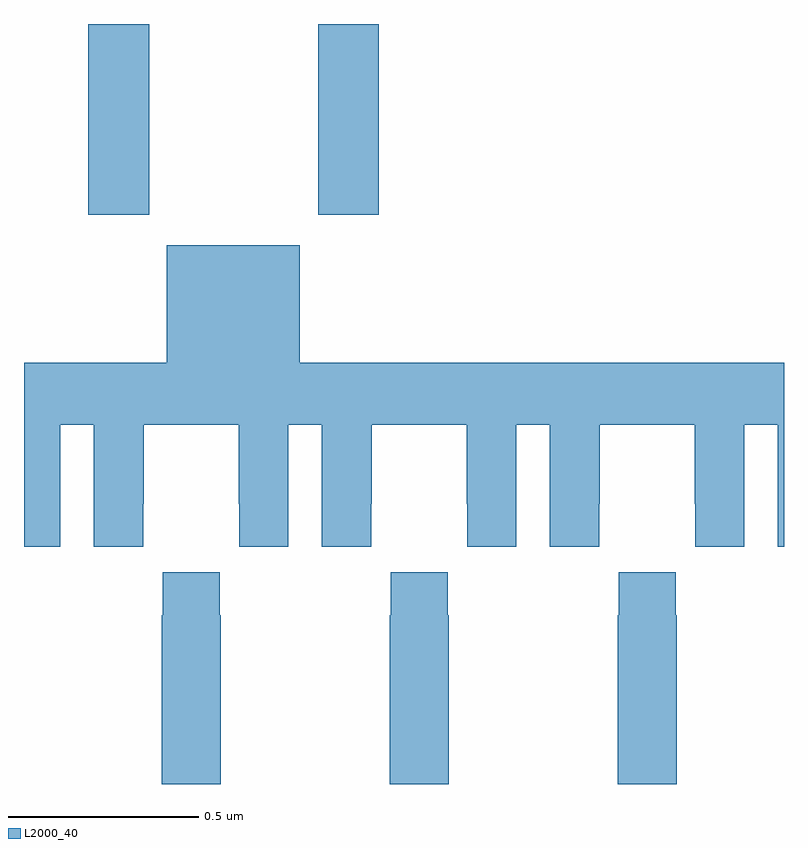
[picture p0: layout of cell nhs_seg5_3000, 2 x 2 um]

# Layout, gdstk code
import gdstk
lib = gdstk.Library(unit=1e-6, precision=1e-09)
def R(c, l, rs):  # rectangles x0, y0, x1, y1
    for r in rs: c.add(gdstk.rectangle(r[:2], r[2:], *l))
def P(c, l, *ps):  # polygons
    for p in ps: c.add(gdstk.Polygon(p, *l))
L2000_40 = (2000, 40)

nhs_seg5_3000 = lib.new_cell('nhs_seg5_3000')
R(nhs_seg5_3000, L2000_40, [(151.169,873.297,151.329,873.799), (151.774,873.297,151.934,873.799)])
P(nhs_seg5_3000, L2000_40, [(151.376,872.908),(151,872.908),(151,872.424),(151.096,872.424),(151.096,872.744),(151.184,872.744),(151.184,872.424),(151.314,872.424),(151.314,872.536),(151.315,872.536),(151.315,872.744),(151.565,872.744),(151.565,872.536),(151.566,872.536),(151.566,872.424),(151.696,872.424),(151.696,872.744),(151.784,872.744),(151.784,872.424),(151.914,872.424),(151.914,872.536),(151.915,872.536),(151.915,872.744),(152.165,872.744),(152.165,872.536),(152.166,872.536),(152.166,872.424),(152.296,872.424),(152.296,872.744),(152.384,872.744),(152.384,872.424),(152.514,872.424),(152.514,872.536),(152.515,872.536),(152.515,872.744),(152.765,872.744),(152.765,872.536),(152.766,872.536),(152.766,872.424),(152.896,872.424),(152.896,872.744),(152.984,872.744),(152.984,872.424),(153,872.424),(153,872.908),(151.726,872.908),(151.726,873.217),(151.376,873.217)],
  [(152.718,872.243),(152.715,872.243),(152.715,872.356),(152.565,872.356),(152.565,872.243),(152.563,872.243),(152.563,871.799),(152.718,871.799)],
  [(152.118,872.243),(152.115,872.243),(152.115,872.356),(151.965,872.356),(151.965,872.243),(151.963,872.243),(151.963,871.799),(152.118,871.799)],
  [(151.518,872.243),(151.515,872.243),(151.515,872.356),(151.365,872.356),(151.365,872.243),(151.363,872.243),(151.363,871.799),(151.518,871.799)])

lib.write_gds('nhs_seg5_3000.gds')
